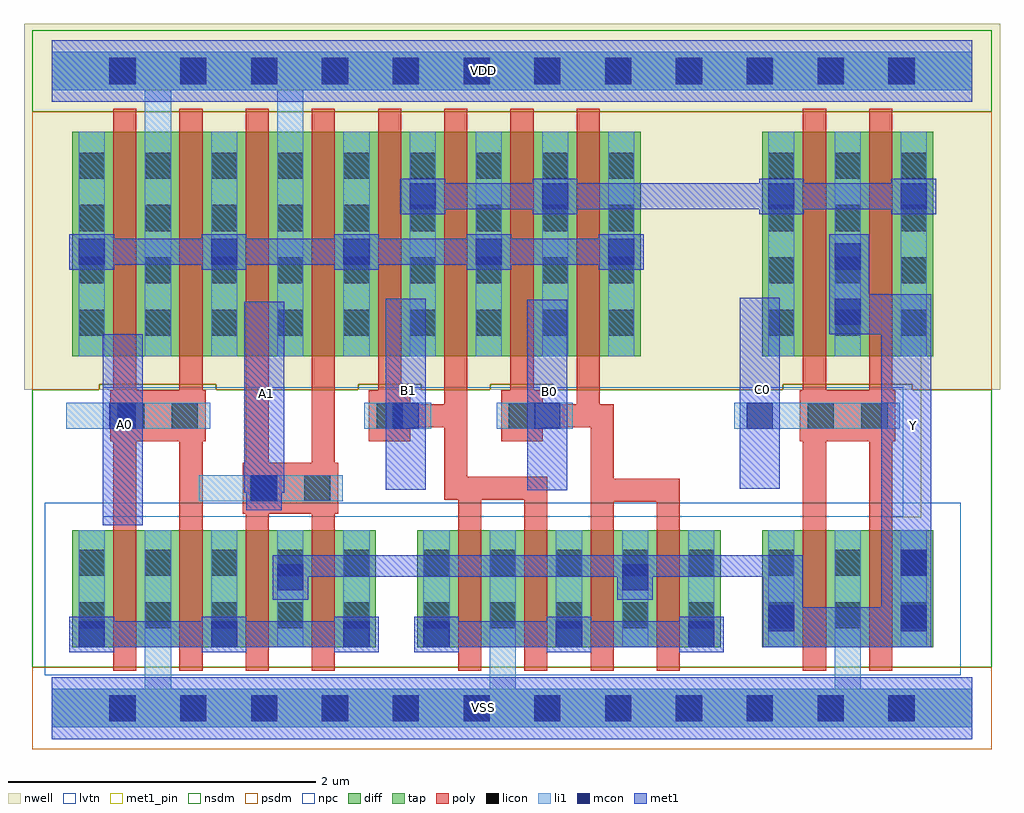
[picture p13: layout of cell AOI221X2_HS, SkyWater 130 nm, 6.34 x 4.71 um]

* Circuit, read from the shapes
.subckt AOI221X2_HS A0 A1 B0 B1 C0 VDD VSS Y
XM1 VSS A0 n1 VSS sky130_fd_pr__nfet_01v8_lvt w=0.76 l=0.15 m=2
XM2 Y A1 n1 VSS sky130_fd_pr__nfet_01v8_lvt w=0.76 l=0.15 m=2
XM3 VSS B1 n2 VSS sky130_fd_pr__nfet_01v8_lvt w=0.76 l=0.15 m=2
XM4 Y B0 n2 VSS sky130_fd_pr__nfet_01v8_lvt w=0.76 l=0.15 m=2
XM5 VSS C0 Y VSS sky130_fd_pr__nfet_01v8_lvt w=0.76 l=0.15 m=2
XM6 VDD A0 n3 VDD sky130_fd_pr__pfet_01v8 w=1.46 l=0.15 m=2
XM7 VDD A1 n3 VDD sky130_fd_pr__pfet_01v8 w=1.46 l=0.15 m=2
XM8 n4 B1 n3 VDD sky130_fd_pr__pfet_01v8 w=1.46 l=0.15 m=2
XM9 n4 B0 n3 VDD sky130_fd_pr__pfet_01v8 w=1.46 l=0.15 m=2
XM10 Y C0 n4 VDD sky130_fd_pr__pfet_01v8 w=1.46 l=0.15 m=2
.ends

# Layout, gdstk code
from math import pi, radians
import gdstk
lib = gdstk.Library(unit=1e-6, precision=1e-09)
def R(c, l, rs):  # rectangles x0, y0, x1, y1
    for r in rs: c.add(gdstk.rectangle(r[:2], r[2:], *l))
def A(c, l, x, y, w, h, nx, ny, dx, dy):  # array of equal rectangles
    R(c, l, [(x+i*dx, y+j*dy, x+i*dx+w, y+j*dy+h) for i in range(nx) for j in range(ny)])
def P(c, l, *ps):  # polygons
    for p in ps: c.add(gdstk.Polygon(p, *l))
nwell = (64, 20)
diff = (65, 20)
tap = (65, 44)
poly = (66, 20)
licon = (66, 44)
li1 = (67, 20)
mcon = (67, 44)
met1_pin = (68, 16)
met1 = (68, 20)
nsdm = (93, 44)
psdm = (94, 20)
npc = (95, 20)
lvtn = (125, 44)

l1m1_c_cdns_750721774071 = lib.new_cell('L1M1_C_CDNS_7507217740719')
R(l1m1_c_cdns_750721774071, li1, [(-0.085,-0.165,0.085,0.085)])
R(l1m1_c_cdns_750721774071, mcon, [(-0.085,-0.085,0.085,0.085)])
R(l1m1_c_cdns_750721774071, met1, [(-0.145,-0.115,0.145,0.115)])

pyl1con_c_cdns_750721774 = lib.new_cell('PYL1CON_C_CDNS_750721774073')
R(pyl1con_c_cdns_750721774, poly, [(-0.135,-0.165,0.135,0.165)])
R(pyl1con_c_cdns_750721774, licon, [(-0.085,-0.085,0.085,0.085)])
R(pyl1con_c_cdns_750721774, npc, [(-0.185,-0.185,0.185,0.185)])

l1m1_c_cdns_750721774074 = lib.new_cell('L1M1_C_CDNS_750721774074')
R(l1m1_c_cdns_750721774074, li1, [(-0.165,-0.085,0.165,0.085)])
R(l1m1_c_cdns_750721774074, mcon, [(-0.085,-0.085,0.085,0.085)])
R(l1m1_c_cdns_750721774074, met1, [(-0.115,-0.145,0.115,0.145)])

l1m1_c_cdns_750721774072 = lib.new_cell('L1M1_C_CDNS_750721774072')
R(l1m1_c_cdns_750721774072, li1, [(-0.085,-0.165,0.085,0.165)])
R(l1m1_c_cdns_750721774072, mcon, [(-0.085,-0.085,0.085,0.085)])
R(l1m1_c_cdns_750721774072, met1, [(-0.115,-0.145,0.115,0.145)])

c_l1m1_c_cdns_750721774071 = lib.new_cell('L1M1_C_CDNS_7507217740713')
R(c_l1m1_c_cdns_750721774071, li1, [(-0.085,-0.165,0.085,0.165)])
R(c_l1m1_c_cdns_750721774071, mcon, [(-0.085,-0.085,0.085,0.085)])
R(c_l1m1_c_cdns_750721774071, met1, [(-0.145,-0.115,0.145,0.115)])

aoi221x2_hs = lib.new_cell('AOI221X2_HS')
R(aoi221x2_hs, nwell, [(-0.18,2.07,6.16,4.315), (-0.045,2.105,1.385,3.925), (1.025,2.105,2.245,3.925), (1.885,2.105,3.105,3.925), (2.745,2.105,4.005,3.925), (4.435,2.105,5.905,3.925), (-0.18,3.875,6.16,4.445)])
A(aoi221x2_hs, diff, 0.4, 0.395, 0.15, 0.76, 4, 1, 0.43, 0)
A(aoi221x2_hs, diff, 2.64, 0.395, 0.15, 0.76, 4, 1, 0.43, 0)
A(aoi221x2_hs, diff, 0.4, 2.285, 0.15, 1.46, 8, 1, 0.43, 0)
A(aoi221x2_hs, diff, 0.55, 2.285, 0.28, 1.46, 4, 1, 0.86, 0)
A(aoi221x2_hs, diff, 0.98, 2.285, 0.225, 1.46, 3, 1, 0.86, 0)
A(aoi221x2_hs, diff, 1.205, 2.285, 0.055, 1.46, 3, 1, 0.86, 0)
R(aoi221x2_hs, diff, [(0.135,0.395,0.4,1.155), (0.55,0.395,0.83,1.155), (0.98,0.395,1.205,1.155), (1.205,0.395,1.26,1.155), (1.41,0.395,1.69,1.155), (1.84,0.395,2.105,1.155), (2.375,0.395,2.64,1.155), (2.79,0.395,3.07,1.155), (3.22,0.395,3.275,1.155), (3.275,0.395,3.5,1.155), (3.65,0.395,3.93,1.155), (4.08,0.395,4.345,1.155), (4.615,0.395,4.88,1.155), (4.88,0.395,5.03,1.155), (5.03,0.395,5.31,1.155), (5.31,0.395,5.46,1.155), (5.46,0.395,5.725,1.155), (0.135,2.285,0.4,3.745), (3.56,2.285,3.825,3.745), (4.615,2.285,4.88,3.745), (4.88,2.285,5.03,3.745), (5.03,2.285,5.31,3.745), (5.31,2.285,5.46,3.745), (5.46,2.285,5.725,3.745)])
A(aoi221x2_hs, poly, 0.4, 0.245, 0.15, 0.055, 4, 2, 0.43, 1.005)
A(aoi221x2_hs, poly, 2.64, 0.245, 0.15, 0.055, 4, 2, 0.43, 1.005)
A(aoi221x2_hs, poly, 0.4, 0.3, 0.15, 0.095, 4, 2, 0.43, 0.855)
A(aoi221x2_hs, poly, 2.64, 0.3, 0.15, 0.095, 4, 2, 0.43, 0.855)
A(aoi221x2_hs, poly, 0.4, 0.395, 0.15, 0.76, 4, 1, 0.43, 0)
A(aoi221x2_hs, poly, 2.64, 0.395, 0.15, 0.76, 4, 1, 0.43, 0)
A(aoi221x2_hs, poly, 0.4, 2.135, 0.15, 0.055, 8, 2, 0.43, 1.705)
A(aoi221x2_hs, poly, 0.4, 2.19, 0.15, 0.095, 8, 2, 0.43, 1.555)
A(aoi221x2_hs, poly, 0.4, 2.285, 0.15, 1.46, 8, 1, 0.43, 0)
R(aoi221x2_hs, poly, [(4.88,0.245,5.03,0.3), (5.31,0.245,5.46,0.3), (4.88,0.3,5.03,0.395), (5.31,0.3,5.46,0.395), (4.88,0.395,5.03,1.155), (5.31,0.395,5.46,1.155), (4.88,1.155,5.03,1.25), (5.31,1.155,5.46,1.25), (4.88,1.25,5.03,1.305), (5.31,1.25,5.46,1.305), (4.88,2.135,5.03,2.19), (5.31,2.135,5.46,2.19), (4.88,2.19,5.03,2.285), (5.31,2.19,5.46,2.285), (4.88,2.285,5.03,3.745), (5.31,2.285,5.46,3.745), (4.88,3.745,5.03,3.84), (5.31,3.745,5.46,3.84), (4.88,3.84,5.03,3.895), (5.31,3.84,5.46,3.895)])
A(aoi221x2_hs, licon, 0.375, -0.085, 0.17, 0.17, 12, 2, 0.46, 4.14)
A(aoi221x2_hs, licon, 0.175, 0.52, 0.17, 0.17, 5, 2, 0.43, 0.34)
A(aoi221x2_hs, licon, 2.415, 0.52, 0.17, 0.17, 5, 2, 0.43, 0.34)
A(aoi221x2_hs, licon, 4.655, 0.52, 0.17, 0.17, 3, 2, 0.43, 0.34)
A(aoi221x2_hs, licon, 0.175, 2.42, 0.17, 0.17, 9, 4, 0.43, 0.34)
A(aoi221x2_hs, licon, 4.655, 2.42, 0.17, 0.17, 3, 4, 0.43, 0.34)
A(aoi221x2_hs, li1, 0.175, 0.395, 0.17, 0.76, 5, 1, 0.43, 0)
A(aoi221x2_hs, li1, 2.415, 0.395, 0.17, 0.76, 5, 1, 0.43, 0)
A(aoi221x2_hs, li1, 4.655, 0.395, 0.17, 0.76, 3, 1, 0.43, 0)
A(aoi221x2_hs, li1, 0.175, 2.285, 0.17, 1.46, 9, 1, 0.43, 0)
A(aoi221x2_hs, li1, 4.655, 2.285, 0.17, 1.46, 3, 1, 0.43, 0)
R(aoi221x2_hs, li1, [(2.845,0,3.015,0.59), (0.605,0.005,0.775,0.59)])
A(aoi221x2_hs, mcon, 0.375, -0.085, 0.17, 0.17, 12, 2, 0.46, 4.14)
R(aoi221x2_hs, mcon, [(4.655,0.5,4.825,0.67), (5.515,0.5,5.685,0.67), (5.515,0.86,5.685,1.03), (5.085,2.49,5.255,2.66), (5.085,2.85,5.255,3.02)])
R(aoi221x2_hs, met1_pin, [(0.33,1.19,0.59,2.43), (5.39,1.24,5.65,2.69), (1.25,1.4,1.51,2.64), (3.09,1.415,3.35,2.655), (2.17,1.42,2.43,2.66), (4.47,1.425,4.73,2.665)])
R(aoi221x2_hs, met1, [(5.39,0.59,5.715,2.69)])
R(aoi221x2_hs, nsdm, [(-0.005,0.265,1.215,1.285), (1.195,0.265,2.245,1.285), (2.235,0.265,3.285,1.285), (3.265,0.265,4.485,1.285), (4.475,0.265,5.865,1.285), (-0.125,3.875,6.105,4.405), (-0.125,3.93,6.105,4.35)])
P(aoi221x2_hs, nsdm, [(6.105,2.07),(5.59,2.07),(5.59,2.105),(4.75,2.105),(4.75,2.07),(3.26,2.07),(3.26,2.105),(2.85,2.105),(2.85,2.07),(2.4,2.07),(2.4,2.105),(1.99,2.105),(1.99,2.07),(1.07,2.07),(1.07,2.105),(0.31,2.105),(0.31,2.07),(-0.125,2.07),(-0.125,0.265),(6.105,0.265)])
R(aoi221x2_hs, psdm, [(-0.125,-0.265,6.105,0.265), (-0.125,-0.21,6.105,0.21), (-0.005,2.155,1.215,3.875), (1.195,2.155,2.075,3.875), (2.055,2.155,2.935,3.875), (2.915,2.155,3.965,3.875), (4.475,2.155,5.865,3.875)])
P(aoi221x2_hs, psdm, [(6.105,3.875),(-0.125,3.875),(-0.125,2.07),(0.31,2.07),(0.31,2.105),(1.07,2.105),(1.07,2.07),(1.99,2.07),(1.99,2.105),(2.4,2.105),(2.4,2.07),(2.85,2.07),(2.85,2.105),(3.26,2.105),(3.26,2.07),(4.75,2.07),(4.75,2.105),(5.59,2.105),(5.59,2.07),(6.105,2.07)])
R(aoi221x2_hs, npc, [(0.33,1.245,5.53,2.085)])
R(aoi221x2_hs, lvtn, [(-0.045,0.215,1.385,1.335), (1.025,0.215,2.285,1.335), (2.195,0.215,3.455,1.335), (3.095,0.215,4.525,1.335), (4.435,0.215,5.905,1.335)])
aoi221x2_hs.add(gdstk.FlexPath([(3.575,1.305),(3.575,1.415)], 0.15, ends=(0, 0.075), simple_path=True, layer=66, datatype=20))  # poly
aoi221x2_hs.add(gdstk.FlexPath([(4.995,1.9),(5.37,1.9)], 0.33, ends="flush", simple_path=True, layer=66, datatype=20))  # poly
aoi221x2_hs.add(gdstk.FlexPath([(4.955,2.27),(4.955,1.305)], 0.15, ends="flush", simple_path=True, layer=66, datatype=20))  # poly
aoi221x2_hs.add(gdstk.FlexPath([(3.575,1.415),(3.575,1.9)], 0.15, ends="extended", simple_path=True, layer=66, datatype=20))  # poly
aoi221x2_hs.add(gdstk.FlexPath([(3.485,2.27),(3.485,1.9)], 0.15, ends=(0, 0.075), simple_path=True, layer=66, datatype=20))  # poly
aoi221x2_hs.add(gdstk.FlexPath([(1.335,2.27),(1.335,1.305)], 0.15, ends="flush", simple_path=True, layer=66, datatype=20))  # poly
aoi221x2_hs.add(gdstk.FlexPath([(3.575,1.9),(3.485,1.9)], 0.15, ends="extended", simple_path=True, layer=66, datatype=20))  # poly
aoi221x2_hs.add(gdstk.FlexPath([(0.49,1.9),(0.865,1.9)], 0.33, ends="flush", simple_path=True, layer=66, datatype=20))  # poly
aoi221x2_hs.add(gdstk.FlexPath([(2.625,1.43),(2.715,1.43)], 0.15, ends="extended", simple_path=True, layer=66, datatype=20))  # poly
aoi221x2_hs.add(gdstk.FlexPath([(2.715,1.305),(2.715,1.43)], 0.15, ends=(0, 0.075), simple_path=True, layer=66, datatype=20))  # poly
aoi221x2_hs.add(gdstk.FlexPath([(2.715,1.43),(3.145,1.43)], 0.15, ends="extended", simple_path=True, layer=66, datatype=20))  # poly
aoi221x2_hs.add(gdstk.FlexPath([(2.625,1.9),(2.195,1.9)], 0.15, ends="extended", simple_path=True, layer=66, datatype=20))  # poly
aoi221x2_hs.add(gdstk.FlexPath([(2.195,2.27),(2.195,1.9)], 0.15, ends=(0, 0.075), simple_path=True, layer=66, datatype=20))  # poly
aoi221x2_hs.add(gdstk.FlexPath([(4.005,1.305),(4.005,1.415)], 0.15, ends=(0, 0.075), simple_path=True, layer=66, datatype=20))  # poly
aoi221x2_hs.add(gdstk.FlexPath([(0.905,2.27),(0.905,1.305)], 0.15, ends="flush", simple_path=True, layer=66, datatype=20))  # poly
aoi221x2_hs.add(gdstk.FlexPath([(1.765,2.27),(1.765,1.305)], 0.15, ends="flush", simple_path=True, layer=66, datatype=20))  # poly
aoi221x2_hs.add(gdstk.FlexPath([(5.385,2.27),(5.385,1.305)], 0.15, ends="flush", simple_path=True, layer=66, datatype=20))  # poly
aoi221x2_hs.add(gdstk.FlexPath([(0.475,2.27),(0.475,1.305)], 0.15, ends="flush", simple_path=True, layer=66, datatype=20))  # poly
aoi221x2_hs.add(gdstk.FlexPath([(1.35,1.43),(1.725,1.43)], 0.33, ends="flush", simple_path=True, layer=66, datatype=20))  # poly
aoi221x2_hs.add(gdstk.FlexPath([(4.005,1.415),(3.575,1.415)], 0.15, ends="extended", simple_path=True, layer=66, datatype=20))  # poly
aoi221x2_hs.add(gdstk.FlexPath([(3.145,1.43),(3.145,1.305)], 0.15, ends=(0.075, 0), simple_path=True, layer=66, datatype=20))  # poly
aoi221x2_hs.add(gdstk.FlexPath([(2.625,2.27),(2.625,1.9)], 0.15, ends=(0, 0.075), simple_path=True, layer=66, datatype=20))  # poly
aoi221x2_hs.add(gdstk.FlexPath([(3.055,2.27),(3.055,1.9)], 0.15, ends=(0, 0.075), simple_path=True, layer=66, datatype=20))  # poly
aoi221x2_hs.add(gdstk.FlexPath([(2.625,1.9),(2.625,1.43)], 0.15, ends="extended", simple_path=True, layer=66, datatype=20))  # poly
aoi221x2_hs.add(gdstk.FlexPath([(3.485,1.9),(3.055,1.9)], 0.15, ends="extended", simple_path=True, layer=66, datatype=20))  # poly
aoi221x2_hs.add(gdstk.FlexPath([(3.305,1.9),(2.89,1.9)], 0.17, ends="flush", simple_path=True, layer=67, datatype=20))  # li1
aoi221x2_hs.add(gdstk.FlexPath([(0.095,1.9),(1.03,1.9)], 0.17, ends="flush", simple_path=True, layer=67, datatype=20))  # li1
aoi221x2_hs.add(gdstk.FlexPath([(0.955,1.43),(1.89,1.43)], 0.17, ends="flush", simple_path=True, layer=67, datatype=20))  # li1
aoi221x2_hs.add(gdstk.FlexPath([(2.445,1.9),(2.03,1.9)], 0.17, ends="flush", simple_path=True, layer=67, datatype=20))  # li1
aoi221x2_hs.add(gdstk.FlexPath([(4.575,1.9),(5.51,1.9)], 0.17, ends="flush", simple_path=True, layer=67, datatype=20))  # li1
aoi221x2_hs.add(gdstk.FlexPath([(5.17,0.59),(5.17,0)], 0.17, ends=(0, 0.085), simple_path=True, layer=67, datatype=20))  # li1
aoi221x2_hs.add(gdstk.FlexPath([(0.69,3.55),(0.69,4.14)], 0.17, ends=(0, 0.085), simple_path=True, layer=67, datatype=20))  # li1
aoi221x2_hs.add(gdstk.FlexPath([(1.55,4.14),(0.69,4.14)], 0.17, ends="extended", simple_path=True, layer=67, datatype=20))  # li1
aoi221x2_hs.add(gdstk.FlexPath([(0,4.14),(5.98,4.14)], 0.25, ends="flush", simple_path=True, layer=67, datatype=20))  # li1
aoi221x2_hs.add(gdstk.FlexPath([(5.17,0),(0.69,0)], 0.17, ends="extended", simple_path=True, layer=67, datatype=20))  # li1
aoi221x2_hs.add(gdstk.FlexPath([(0,0),(5.98,0)], 0.25, ends="flush", simple_path=True, layer=67, datatype=20))  # li1
aoi221x2_hs.add(gdstk.FlexPath([(1.55,3.55),(1.55,4.14)], 0.17, ends=(0, 0.085), simple_path=True, layer=67, datatype=20))  # li1
aoi221x2_hs.add(gdstk.FlexPath([(0,4.14),(5.98,4.14)], 0.4, ends="flush", simple_path=True, layer=68, datatype=20))  # met1
aoi221x2_hs.add(gdstk.FlexPath([(4.6,2.665),(4.6,1.425)], 0.26, ends="flush", simple_path=True, layer=68, datatype=20))  # met1
aoi221x2_hs.add(gdstk.FlexPath([(0,0),(5.98,0)], 0.4, ends="flush", simple_path=True, layer=68, datatype=20))  # met1
aoi221x2_hs.add(gdstk.FlexPath([(3.22,2.655),(3.22,1.415)], 0.26, ends="flush", simple_path=True, layer=68, datatype=20))  # met1
aoi221x2_hs.add(gdstk.FlexPath([(2.3,2.66),(2.3,1.42)], 0.26, ends="flush", simple_path=True, layer=68, datatype=20))  # met1
aoi221x2_hs.add(gdstk.FlexPath([(1.38,2.64),(1.38,1.4)], 0.26, ends="flush", simple_path=True, layer=68, datatype=20))  # met1
aoi221x2_hs.add(gdstk.FlexPath([(1.435,0.925),(4.765,0.925)], 0.14, ends=(0, 0.115), simple_path=True, layer=68, datatype=20))  # met1
aoi221x2_hs.add(gdstk.FlexPath([(4.88,0.925),(4.765,0.925)], 0.14, ends=(0, 0.115), simple_path=True, layer=68, datatype=20))  # met1
aoi221x2_hs.add(gdstk.FlexPath([(2.355,0.48),(4.365,0.48)], 0.17, ends="flush", simple_path=True, layer=68, datatype=20))  # met1
aoi221x2_hs.add(gdstk.FlexPath([(0.115,0.48),(2.125,0.48)], 0.17, ends="flush", simple_path=True, layer=68, datatype=20))  # met1
aoi221x2_hs.add(gdstk.FlexPath([(0.115,2.965),(3.845,2.965)], 0.17, ends="flush", simple_path=True, layer=68, datatype=20))  # met1
aoi221x2_hs.add(gdstk.FlexPath([(2.265,3.325),(5.745,3.325)], 0.17, ends="flush", simple_path=True, layer=68, datatype=20))  # met1
aoi221x2_hs.add(gdstk.FlexPath([(5.52,0.59),(5.52,2.69)], 0.26, ends="flush", simple_path=True, layer=68, datatype=20))  # met1
aoi221x2_hs.add(gdstk.FlexPath([(4.75,0.995),(4.75,0.525)], 0.26, ends=(0, 0.13), simple_path=True, layer=68, datatype=20))  # met1
aoi221x2_hs.add(gdstk.FlexPath([(4.75,0.525),(5.6,0.525)], 0.26, ends=(0.13, 0.115), simple_path=True, layer=68, datatype=20))  # met1
aoi221x2_hs.add(gdstk.FlexPath([(5.18,2.56),(5.18,3.08)], 0.26, ends=(0.13, 0), simple_path=True, layer=68, datatype=20))  # met1
aoi221x2_hs.add(gdstk.FlexPath([(5.535,2.56),(5.18,2.56)], 0.26, ends=(0.115, 0.13), simple_path=True, layer=68, datatype=20))  # met1
aoi221x2_hs.add(gdstk.FlexPath([(0.46,2.43),(0.46,1.19)], 0.26, ends="flush", simple_path=True, layer=68, datatype=20))  # met1
aoi221x2_hs.add(gdstk.FlexPath([(0,4.14),(5.98,4.14)], 0.4, ends="flush", simple_path=True, layer=68, datatype=16))  # met1_pin
aoi221x2_hs.add(gdstk.FlexPath([(0,0),(5.98,0)], 0.4, ends="flush", simple_path=True, layer=68, datatype=16))  # met1_pin
aoi221x2_hs.add(gdstk.FlexPath([(0,0),(5.98,0)], 0.25, ends="flush", simple_path=True, layer=65, datatype=44))  # tap
aoi221x2_hs.add(gdstk.FlexPath([(0,4.14),(5.98,4.14)], 0.25, ends="flush", simple_path=True, layer=65, datatype=44))  # tap
aoi221x2_hs.add(gdstk.Reference(l1m1_c_cdns_750721774071, (1.98,0.48), x_reflection=True))
aoi221x2_hs.add(gdstk.Reference(l1m1_c_cdns_750721774071, (4.22,0.48), x_reflection=True))
aoi221x2_hs.add(gdstk.Reference(l1m1_c_cdns_750721774071, (3.36,0.48), x_reflection=True))
aoi221x2_hs.add(gdstk.Reference(l1m1_c_cdns_750721774071, (2.5,0.48), x_reflection=True))
aoi221x2_hs.add(gdstk.Reference(l1m1_c_cdns_750721774071, (1.12,0.48), x_reflection=True))
aoi221x2_hs.add(gdstk.Reference(l1m1_c_cdns_750721774071, (0.26,0.48), x_reflection=True))
aoi221x2_hs.add(gdstk.Reference(pyl1con_c_cdns_750721774, (4.995,1.9), rotation=pi, x_reflection=True))
aoi221x2_hs.add(gdstk.Reference(pyl1con_c_cdns_750721774, (5.345,1.9), rotation=pi, x_reflection=True))
aoi221x2_hs.add(gdstk.Reference(pyl1con_c_cdns_750721774, (3.055,1.9), rotation=pi, x_reflection=True))
aoi221x2_hs.add(gdstk.Reference(pyl1con_c_cdns_750721774, (2.195,1.9), rotation=pi, x_reflection=True))
aoi221x2_hs.add(gdstk.Reference(pyl1con_c_cdns_750721774, (1.375,1.43), rotation=pi, x_reflection=True))
aoi221x2_hs.add(gdstk.Reference(pyl1con_c_cdns_750721774, (1.725,1.43), rotation=pi, x_reflection=True))
aoi221x2_hs.add(gdstk.Reference(pyl1con_c_cdns_750721774, (0.865,1.9), rotation=pi, x_reflection=True))
aoi221x2_hs.add(gdstk.Reference(pyl1con_c_cdns_750721774, (0.515,1.9), rotation=pi, x_reflection=True))
aoi221x2_hs.add(gdstk.Reference(l1m1_c_cdns_750721774074, (4.6,1.9)))
aoi221x2_hs.add(gdstk.Reference(l1m1_c_cdns_750721774074, (3.22,1.9)))
aoi221x2_hs.add(gdstk.Reference(l1m1_c_cdns_750721774074, (2.3,1.9)))
aoi221x2_hs.add(gdstk.Reference(l1m1_c_cdns_750721774074, (1.38,1.43)))
aoi221x2_hs.add(gdstk.Reference(l1m1_c_cdns_750721774074, (0.46,1.9)))
aoi221x2_hs.add(gdstk.Reference(l1m1_c_cdns_750721774072, (3.79,0.85), x_reflection=True))
aoi221x2_hs.add(gdstk.Reference(l1m1_c_cdns_750721774072, (1.55,0.85), x_reflection=True))
aoi221x2_hs.add(gdstk.Reference(c_l1m1_c_cdns_750721774071, (5.6,3.325), x_reflection=True))
aoi221x2_hs.add(gdstk.Reference(c_l1m1_c_cdns_750721774071, (4.74,3.325), x_reflection=True))
aoi221x2_hs.add(gdstk.Reference(c_l1m1_c_cdns_750721774071, (3.27,3.325), x_reflection=True))
aoi221x2_hs.add(gdstk.Reference(c_l1m1_c_cdns_750721774071, (2.84,2.965), x_reflection=True))
aoi221x2_hs.add(gdstk.Reference(c_l1m1_c_cdns_750721774071, (1.98,2.965), x_reflection=True))
aoi221x2_hs.add(gdstk.Reference(c_l1m1_c_cdns_750721774071, (2.41,3.325), x_reflection=True))
aoi221x2_hs.add(gdstk.Reference(c_l1m1_c_cdns_750721774071, (3.7,2.965), x_reflection=True))
aoi221x2_hs.add(gdstk.Reference(c_l1m1_c_cdns_750721774071, (0.26,2.965), x_reflection=True))
aoi221x2_hs.add(gdstk.Reference(c_l1m1_c_cdns_750721774071, (1.12,2.965), x_reflection=True))
aoi221x2_hs.add(gdstk.Label('VDD', (2.805,4.145), layer=68, texttype=5))
aoi221x2_hs.add(gdstk.Label('Y', (5.595,1.835), layer=68, texttype=5))
aoi221x2_hs.add(gdstk.Label('A1', (1.395,2.045), layer=68, texttype=5))
aoi221x2_hs.add(gdstk.Label('C0', (4.615,2.07), layer=68, texttype=5))
aoi221x2_hs.add(gdstk.Label('B0', (3.235,2.06), layer=68, texttype=5))
aoi221x2_hs.add(gdstk.Label('B1', (2.315,2.065), layer=68, texttype=5))
aoi221x2_hs.add(gdstk.Label('A0', (0.475,1.84), layer=68, texttype=5))
aoi221x2_hs.add(gdstk.Label('VSS', (2.805,0.005), layer=68, texttype=5))

lib.write_gds('AOI221X2_HS.gds')
